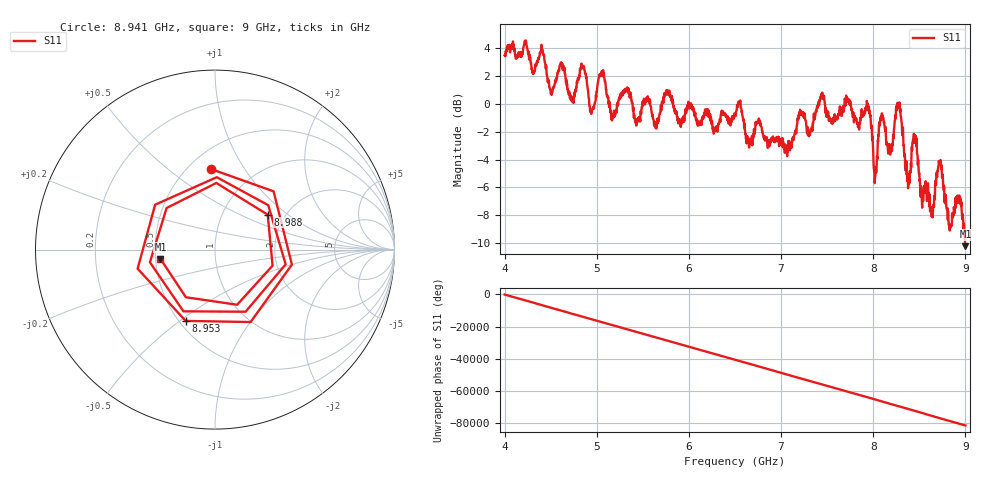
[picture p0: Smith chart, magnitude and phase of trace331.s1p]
! Created with skrf 1.8.0 (http://scikit-rf.org).
# Hz S RI R 50.0
!freq ReS11 ImS11
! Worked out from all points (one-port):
!   1601 points, 4 GHz to 9 GHz, reference 50 ohm
!   lowest |S11| = -10.2 dB at 9 GHz (marker M1), VSWR 1.89, Z = 26.6 - j3.03 ohm
!   |S11| at or under -10 dB: 8.996224 GHz to end of sweep
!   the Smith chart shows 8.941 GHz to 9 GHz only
!   S11 on the Smith chart (normalised r, x): 8.941 GHz: 0.64, +0.72; 8.953 GHz: 0.54, -0.53; 8.988 GHz: 1.63, +0.73; 9 GHz: 0.53, -0.06
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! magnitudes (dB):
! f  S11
! 4 GHz  3.5
! 4.406 GHz  4.0
! 4.509 GHz  0.9
! 4.625 GHz  2.9
! 4.734 GHz  0.4
! 4.856 GHz  2.7
! 4.944 GHz  -0.5
! 5.053 GHz  2.4
! 5.172 GHz  -1.0
! 5.25 GHz  0.3
! 5.875 GHz  -0.9
! 6.5 GHz  -0.8
! 7.125 GHz  -2.4
! 7.75 GHz  0.2
! 7.947 GHz  -0.1
! 8.022 GHz  -5.2
! 8.088 GHz  -0.9
! 8.188 GHz  -3.2
! 8.272 GHz  -0.3
! 8.375 GHz  -5.0
! 8.447 GHz  -2.3
! 8.634 GHz  -7.4
! 8.719 GHz  -4.1
! 8.828 GHz  -9.0
! 8.941 GHz  -7.0
! 8.953 GHz  -7.3
! 8.988 GHz  -9.1
! 9 GHz  -10.2
